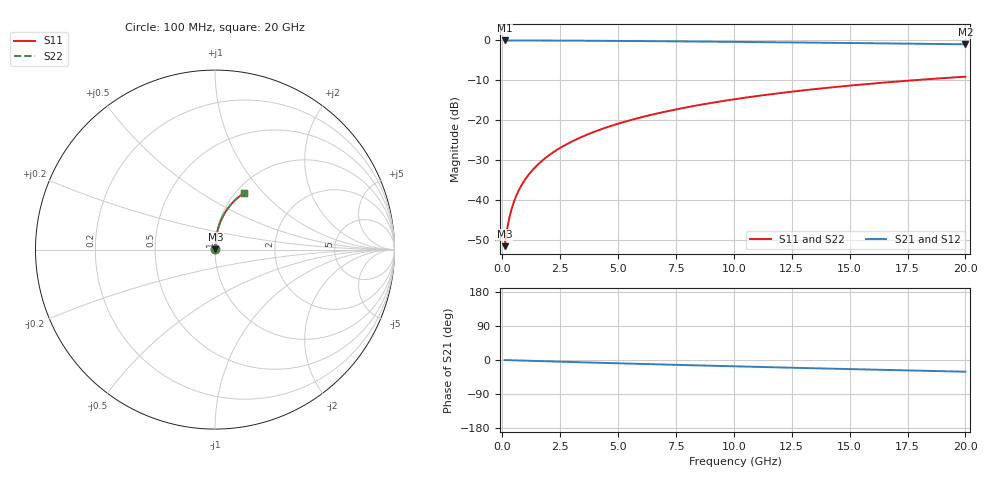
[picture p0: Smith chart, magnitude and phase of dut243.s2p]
! Touchstone file exported from HFSS 2024.1.0
!  File:  C:/UserFiles/LocalFiles/RDL_TSV_Batchsim/temp_RDL_top_243_1778688587.aedt
!  Generated:  12:12:07 AM May 14, 2026
!  Design:  RDL_top
!  Project:  temp_RDL_top_243_1778688587
!  Setup:  Setup1
!  Solution:  Sweep
! Variables:
!  dtsv = 10.80580581um
!  hbump = 3um
!  htsv = 86.1um
!  ldown = 100um
!  lrdl = 372.98um
!  p = 40
!  p1 = 57.49um
!  rhole = 1um
!  t = 450um
!  tdown = 3.915915916um
!  trdl = 4.44um
!  wdown = 15.38538539um
!  wrdl = 16.98um
# GHz S MA R 50.000000
! Terminal data exported
! Port[1] = Box2_T1
! Port[2] = Box2_T2
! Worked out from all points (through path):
!   200 points, 100 MHz to 20 GHz, reference 50 ohm
!   highest |S21| = -0.02 dB at 100 MHz (marker M1); lowest = -1.0 dB at 20 GHz (marker M2)
!   group delay of S21, straight-line fit = 4.27 ps
!   lowest |S11| = -51.5 dB at 100 MHz (marker M3), VSWR 1.01, Z = 50.2 + j0.189 ohm
!   |S11| at or under -10 dB: start of sweep to 17.71 GHz
!   |S22| runs from -51.5 to -9.1 dB; largest |S21 - S12| = 5.2e-15
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0.1  0.002664 45.0  0.9981 -0.2  0.9981 -0.2  0.002664 45.0
! Gamma 0 0 0 0
! Port Impedance 50 0 50 0
0.2  0.004223 62.8  0.998 -0.4  0.998 -0.4  0.004223 62.8
0.3  0.005958 70.5  0.9979 -0.5  0.9979 -0.5  0.005958 70.5
0.4  0.007737 74.5  0.9978 -0.7  0.9978 -0.7  0.007738 74.5
0.5  0.009524 76.9  0.9978 -0.9  0.9978 -0.9  0.009525 76.9
0.7  0.01309 79.7  0.9976 -1.3  0.9976 -1.3  0.01309 79.7
0.8  0.01487 80.6  0.9974 -1.4  0.9974 -1.4  0.01487 80.6
1  0.01842 81.9  0.9972 -1.8  0.9972 -1.8  0.01843 81.9
1.2  0.02198 82.7  0.9969 -2.2  0.9969 -2.2  0.02198 82.7
1.4  0.02553 83.3  0.9966 -2.5  0.9966 -2.5  0.02554 83.3
1.7  0.03088 83.9  0.9961 -3.0  0.9961 -3.0  0.03088 83.9
2  0.03624 84.2  0.9955 -3.6  0.9955 -3.6  0.03624 84.2
2.7  0.04881 84.4  0.9937 -4.8  0.9937 -4.8  0.04881 84.4
3.5  0.06328 84.2  0.9911 -6.2  0.9911 -6.2  0.06328 84.2
4.2  0.07603 83.8  0.9885 -7.4  0.9885 -7.4  0.07602 83.8
5  0.09069 83.2  0.9851 -8.7  0.9851 -8.7  0.09068 83.1
6.8  0.1239 81.3  0.9765 -11.7  0.9765 -11.7  0.1239 81.3
8.4  0.1536 79.3  0.9679 -14.2  0.9679 -14.2  0.1536 79.3
10.1  0.1849 77.1  0.9581 -16.8  0.9581 -16.8  0.1849 77.0
13.4  0.2441 72.4  0.9378 -21.7  0.9378 -21.7  0.244 72.4
16.7  0.3 67.7  0.9161 -26.4  0.9161 -26.4  0.2999 67.7
20  0.3516 63.1  0.8934 -30.9  0.8934 -30.9  0.3515 63.1
